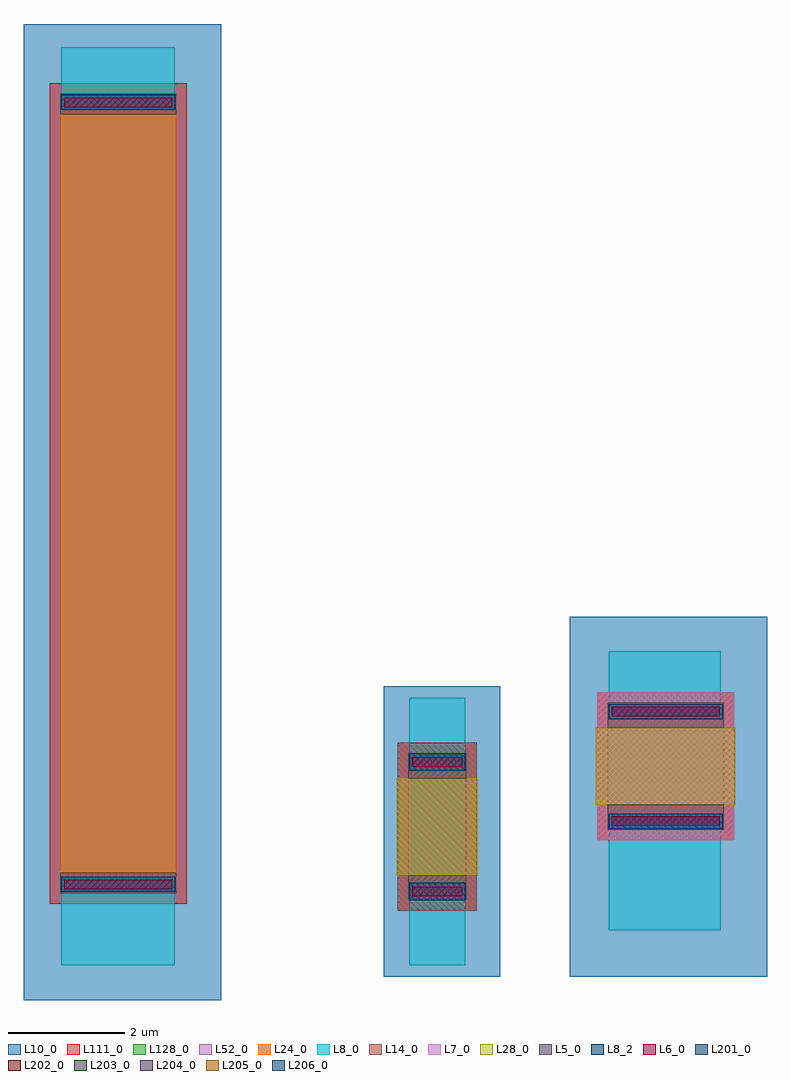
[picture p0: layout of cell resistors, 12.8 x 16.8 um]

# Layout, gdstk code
import gdstk
lib = gdstk.Library(unit=1e-6, precision=1e-09)
def R(c, l, rs):  # rectangles x0, y0, x1, y1
    for r in rs: c.add(gdstk.rectangle(r[:2], r[2:], *l))
def P(c, l, *ps):  # polygons
    for p in ps: c.add(gdstk.Polygon(p, *l))
L5_0 = (5, 0)
L6_0 = (6, 0)
L7_0 = (7, 0)
L8_0 = (8, 0)
L8_2 = (8, 2)
L10_0 = (10, 0)
L14_0 = (14, 0)
L24_0 = (24, 0)
L28_0 = (28, 0)
L52_0 = (52, 0)
L111_0 = (111, 0)
L128_0 = (128, 0)
L201_0 = (201, 0)
L202_0 = (202, 0)
L203_0 = (203, 0)
L204_0 = (204, 0)
L205_0 = (205, 0)
L206_0 = (206, 0)

rppd_cdns_786372201260 = lib.new_cell('rppd_CDNS_786372201260')
R(rppd_cdns_786372201260, L5_0, [(0,-0.43,1,-0.2), (0,-0.2,1,0), (0,1.665,1,1.865), (0,1.865,1,2.095)])
R(rppd_cdns_786372201260, L6_0, [(0.07,-0.36,0.93,-0.2), (0.07,1.865,0.93,2.025)])
R(rppd_cdns_786372201260, L8_0, [(0.02,-0.43,0.98,-0.13), (0.02,1.795,0.98,2.095)])
R(rppd_cdns_786372201260, L8_2, [(0.02,-0.43,0.98,-0.13), (0.02,1.795,0.98,2.095)])
R(rppd_cdns_786372201260, L14_0, [(-0.18,-0.61,1.18,0), (-0.18,0,1.18,1.665), (-0.18,1.665,1.18,2.275)])
R(rppd_cdns_786372201260, L28_0, [(-0.2,0,1.2,1.665)])
R(rppd_cdns_786372201260, L52_0, [(0,0,1,1.665)])
R(rppd_cdns_786372201260, L111_0, [(-0.18,-0.61,1.18,0), (-0.2,0,1.2,1.665), (-0.18,1.665,1.18,2.275)])
R(rppd_cdns_786372201260, L128_0, [(0,0,1,1.665)])
rppd_cdns_786372201260.add(gdstk.Label('rppd', (0.5,0.833), layer=52, texttype=0))
rppd_cdns_786372201260.add(gdstk.Label('rppd r=500.318', (0.5,0.833), layer=63, texttype=0))

rsil_cdns_786372201261 = lib.new_cell('rsil_CDNS_786372201261')
R(rsil_cdns_786372201261, L5_0, [(0,-0.35,2,0), (0,13.06,2,13.41)])
R(rsil_cdns_786372201261, L6_0, [(0.07,-0.28,1.93,-0.12), (0.07,13.18,1.93,13.34)])
R(rsil_cdns_786372201261, L8_0, [(0.02,-0.33,1.98,-0.07), (0.02,13.13,1.98,13.39)])
R(rsil_cdns_786372201261, L8_2, [(0.02,-0.33,1.98,-0.07), (0.02,13.13,1.98,13.39)])
R(rsil_cdns_786372201261, L24_0, [(0,0,2,13.06)])
R(rsil_cdns_786372201261, L52_0, [(0,0,2,13.06)])
R(rsil_cdns_786372201261, L111_0, [(-0.18,-0.53,2.18,0), (-0.18,0,2.18,13.59), (-0.18,0,2.18,13.06)])
R(rsil_cdns_786372201261, L128_0, [(0,0,2,13.06)])
rsil_cdns_786372201261.add(gdstk.Label('rsil', (1,6.53), layer=52, texttype=0))
rsil_cdns_786372201261.add(gdstk.Label('rsil r=49.983', (1,6.53), layer=63, texttype=0))

rhigh_cdns_786372201262 = lib.new_cell('rhigh_CDNS_786372201262')
R(rhigh_cdns_786372201262, L5_0, [(0,-0.43,2,0), (0,1.325,2,1.755)])
R(rhigh_cdns_786372201262, L6_0, [(0.07,-0.36,1.93,-0.2), (0.07,1.525,1.93,1.685)])
R(rhigh_cdns_786372201262, L7_0, [(-0.18,-0.61,2.18,0.18), (-0.18,0,2.18,1.325), (-0.18,0,2.18,1.325), (-0.18,1.145,2.18,1.935)])
R(rhigh_cdns_786372201262, L8_0, [(0.02,-0.41,1.98,-0.15), (0.02,1.475,1.98,1.735)])
R(rhigh_cdns_786372201262, L8_2, [(0.02,-0.41,1.98,-0.15), (0.02,1.475,1.98,1.735)])
R(rhigh_cdns_786372201262, L14_0, [(-0.18,-0.61,2.18,0.18), (-0.18,0,2.18,1.325), (-0.18,0,2.18,1.325), (-0.18,1.145,2.18,1.935)])
R(rhigh_cdns_786372201262, L28_0, [(-0.2,0,2.2,1.325)])
R(rhigh_cdns_786372201262, L52_0, [(0,0,2,1.325)])
R(rhigh_cdns_786372201262, L111_0, [(-0.18,-0.61,2.18,0.18), (-0.2,0,2.2,1.325), (-0.18,1.145,2.18,1.935)])
R(rhigh_cdns_786372201262, L128_0, [(0,0,2,1.325)])
rhigh_cdns_786372201262.add(gdstk.Label('rhigh', (1,0.663), layer=52, texttype=0))
rhigh_cdns_786372201262.add(gdstk.Label('rhigh r=999.388', (1,0.663), layer=63, texttype=0))

resistors = lib.new_cell('resistors')
R(resistors, L8_0, [(-2.75,1.6,-0.8,3.12), (3.24,1.6,4.2,3.02), (6.67,2.2,8.6,4.21), (3.24,4.945,4.2,6.2), (6.67,5.835,8.6,7), (-2.75,16.32,-0.8,17.4)])
R(resistors, L10_0, [(-3.4,1,0,17.8), (2.8,1.4,4.8,6.4), (6,1.4,9.4,7.6)])
P(resistors, L201_0, [(-2.6,17.2),(-2.6,17.2),(-1,17.2),(-1,17.2)])
P(resistors, L202_0, [(-2.6,1.8),(-2.6,1.8),(-1,1.8),(-1,1.8)])
P(resistors, L203_0, [(3.24,6.2),(3.24,6.2),(4.2,6.2),(4.2,6.2)])
P(resistors, L204_0, [(3.24,1.6),(3.24,1.6),(4.2,1.6),(4.2,1.6)])
P(resistors, L205_0, [(6.67,7),(6.67,7),(8.6,7),(8.6,7)])
P(resistors, L206_0, [(6.67,2.2),(6.67,2.2),(8.6,2.2),(8.6,2.2)])
resistors.add(gdstk.Reference(rppd_cdns_786372201260, (3.22,3.15)))
resistors.add(gdstk.Reference(rsil_cdns_786372201261, (-2.77,3.19)))
resistors.add(gdstk.Reference(rhigh_cdns_786372201262, (6.65,4.36)))

lib.write_gds('resistors.gds')
